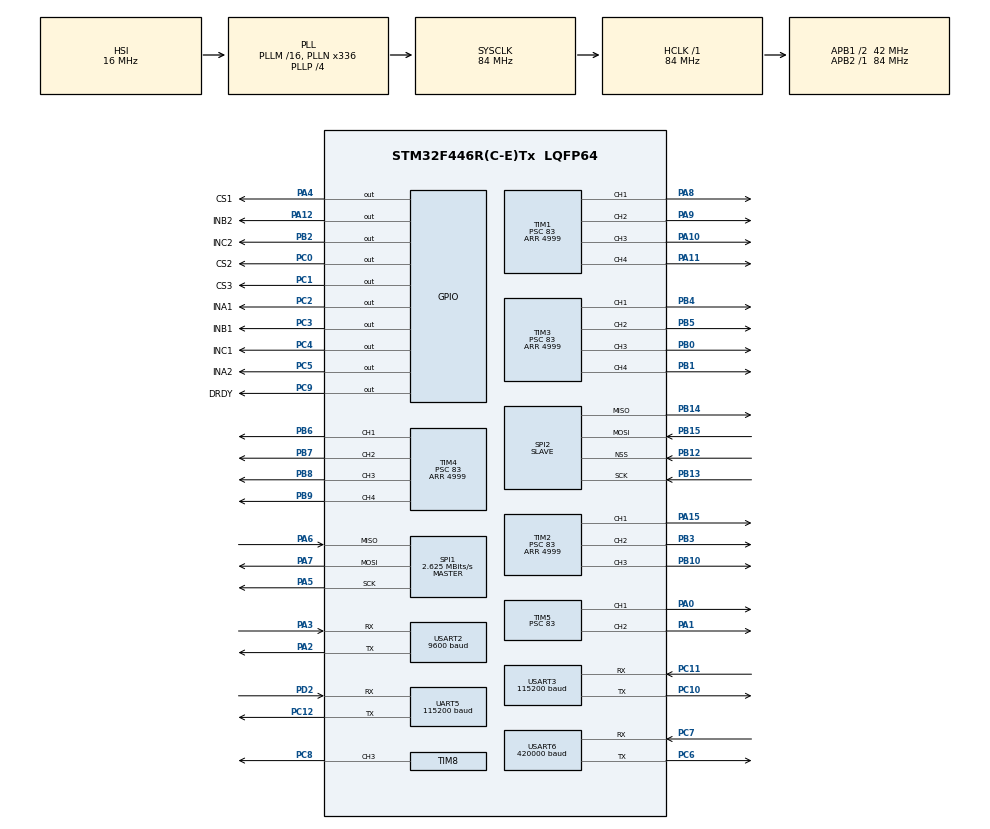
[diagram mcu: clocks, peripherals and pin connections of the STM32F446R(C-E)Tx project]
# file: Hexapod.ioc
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Dma.Request0=SPI2_RX
Dma.Request1=SPI2_TX
Dma.SPI2_RX.0.Direction=DMA_PERIPH_TO_MEMORY
Dma.SPI2_RX.0.FIFOMode=DMA_FIFOMODE_DISABLE
Dma.SPI2_RX.0.Instance=DMA1_Stream3
Dma.SPI2_RX.0.MemDataAlignment=DMA_MDATAALIGN_BYTE
Dma.SPI2_RX.0.MemInc=DMA_MINC_ENABLE
Dma.SPI2_RX.0.Mode=DMA_NORMAL
Dma.SPI2_RX.0.PeriphDataAlignment=DMA_PDATAALIGN_BYTE
Dma.SPI2_RX.0.PeriphInc=DMA_PINC_DISABLE
Dma.SPI2_RX.0.Priority=DMA_PRIORITY_HIGH
Dma.SPI2_TX.1.Direction=DMA_MEMORY_TO_PERIPH
Dma.SPI2_TX.1.FIFOMode=DMA_FIFOMODE_DISABLE
Dma.SPI2_TX.1.Instance=DMA1_Stream4
Dma.SPI2_TX.1.MemDataAlignment=DMA_MDATAALIGN_BYTE
Dma.SPI2_TX.1.MemInc=DMA_MINC_ENABLE
Dma.SPI2_TX.1.Mode=DMA_NORMAL
Dma.SPI2_TX.1.PeriphDataAlignment=DMA_PDATAALIGN_BYTE
Dma.SPI2_TX.1.PeriphInc=DMA_PINC_DISABLE
Dma.SPI2_TX.1.Priority=DMA_PRIORITY_HIGH
Mcu.Family=STM32F4
Mcu.Name=STM32F446R(C-E)Tx
Mcu.Package=LQFP64
NVIC.DMA1_Stream3_IRQn=true\:5\:0\:true\:false\:true\:false\:true\:true
NVIC.DMA1_Stream4_IRQn=true\:5\:0\:true\:false\:true\:false\:true\:true
NVIC.PriorityGroup=NVIC_PRIORITYGROUP_4
NVIC.SPI2_IRQn=true\:5\:0\:true\:false\:true\:true\:true\:true
NVIC.TIM6_DAC_IRQn=true\:0\:0\:false\:false\:true\:true\:true\:true
NVIC.UART5_IRQn=true\:4\:0\:true\:false\:true\:true\:true\:true
NVIC.USART2_IRQn=true\:3\:0\:true\:false\:true\:true\:true\:true
NVIC.USART3_IRQn=true\:2\:0\:true\:false\:true\:true\:true\:true
NVIC.USART6_IRQn=true\:1\:0\:true\:false\:true\:true\:true\:true
PA0-WKUP.Signal=S_TIM5_CH1
PA1.Signal=S_TIM5_CH2
PA10.Signal=S_TIM1_CH3
PA11.Signal=S_TIM1_CH4
PA12.GPIO_Label=INB2
PA12.Signal=GPIO_Output
PA13.GPIO_Label=TMS
PA13.Mode=Serial_Wire
PA13.Signal=SYS_JTMS-SWDIO
PA14.GPIO_Label=TCK
PA14.Mode=Serial_Wire
PA14.Signal=SYS_JTCK-SWCLK
PA15.Signal=S_TIM2_CH1_ETR
PA2.Mode=Asynchronous
PA2.Signal=USART2_TX
PA3.Mode=Asynchronous
PA3.Signal=USART2_RX
PA4.GPIO_Label=CS1
PA4.Signal=GPIO_Output
PA5.Mode=Full_Duplex_Master
PA5.Signal=SPI1_SCK
PA6.Mode=Full_Duplex_Master
PA6.Signal=SPI1_MISO
PA7.Mode=Full_Duplex_Master
PA7.Signal=SPI1_MOSI
PA8.Signal=S_TIM1_CH1
PA9.Signal=S_TIM1_CH2
PB0.Signal=S_TIM3_CH3
PB1.Signal=S_TIM3_CH4
PB10.Signal=S_TIM2_CH3
PB12.Mode=NSS_Signal_Hard_Input
PB12.Signal=SPI2_NSS
PB13.Mode=Full_Duplex_Slave
PB13.Signal=SPI2_SCK
PB14.Mode=Full_Duplex_Slave
PB14.Signal=SPI2_MISO
PB15.Mode=Full_Duplex_Slave
PB15.Signal=SPI2_MOSI
PB2.GPIO_Label=INC2
PB2.Signal=GPIO_Output
PB3.Signal=S_TIM2_CH2
PB4.Signal=S_TIM3_CH1
PB5.Signal=S_TIM3_CH2
PB6.Signal=S_TIM4_CH1
PB7.Signal=S_TIM4_CH2
PB8.Signal=S_TIM4_CH3
PB9.Signal=S_TIM4_CH4
PC0.GPIO_Label=CS2
PC0.Signal=GPIO_Output
PC1.GPIO_Label=CS3
PC1.Signal=GPIO_Output
PC10.Mode=Asynchronous
PC10.Signal=USART3_TX
PC11.Mode=Asynchronous
PC11.Signal=USART3_RX
PC12.Mode=Asynchronous
PC12.Signal=UART5_TX
PC2.GPIO_Label=INA1
PC2.Signal=GPIO_Output
PC3.GPIO_Label=INB1
PC3.Signal=GPIO_Output
PC4.GPIO_Label=INC1
PC4.Signal=GPIO_Output
PC5.GPIO_Label=INA2
PC5.Signal=GPIO_Output
PC6.Mode=Asynchronous
PC6.Signal=USART6_TX
PC7.Mode=Asynchronous
PC7.Signal=USART6_RX
PC8.Signal=S_TIM8_CH3
PC9.GPIO_Label=DRDY
PC9.Signal=GPIO_Output
PD2.Mode=Asynchronous
PD2.Signal=UART5_RX
ProjectManager.HeapSize=0x200
ProjectManager.StackSize=0x400
ProjectManager.TargetToolchain=STM32CubeIDE
RCC.48MHZClocksFreq_Value=84000000
RCC.AHBFreq_Value=84000000
RCC.APB1CLKDivider=RCC_HCLK_DIV2
RCC.APB1Freq_Value=42000000
RCC.APB1TimFreq_Value=84000000
RCC.APB2Freq_Value=84000000
RCC.APB2TimFreq_Value=84000000
RCC.CortexFreq_Value=84000000
RCC.FLatency-AdvancedSettings=FLASH_LATENCY_2
RCC.HCLKFreq_Value=84000000
RCC.HSE_VALUE=8000000
RCC.HSI_VALUE=16000000
RCC.PLLN=336
RCC.PLLP=RCC_PLLP_DIV4
RCC.SYSCLKFreq_VALUE=84000000
RCC.SYSCLKSource=RCC_SYSCLKSOURCE_PLLCLK
RCC.USBFreq_Value=168000000
RCC.VCOOutputFreq_Value=336000000
SH.S_TIM1_CH1.0=TIM1_CH1,PWM Generation1 CH1
SH.S_TIM1_CH2.0=TIM1_CH2,PWM Generation2 CH2
SH.S_TIM1_CH3.0=TIM1_CH3,PWM Generation3 CH3
SH.S_TIM1_CH4.0=TIM1_CH4,PWM Generation4 CH4
SH.S_TIM2_CH1_ETR.0=TIM2_CH1,PWM Generation1 CH1
SH.S_TIM2_CH2.0=TIM2_CH2,PWM Generation2 CH2
SH.S_TIM2_CH3.0=TIM2_CH3,PWM Generation3 CH3
SH.S_TIM3_CH1.0=TIM3_CH1,PWM Generation1 CH1
SH.S_TIM3_CH2.0=TIM3_CH2,PWM Generation2 CH2
SH.S_TIM3_CH3.0=TIM3_CH3,PWM Generation3 CH3
SH.S_TIM3_CH4.0=TIM3_CH4,PWM Generation4 CH4
SH.S_TIM4_CH1.0=TIM4_CH1,PWM Generation1 CH1
SH.S_TIM4_CH2.0=TIM4_CH2,PWM Generation2 CH2
SH.S_TIM4_CH3.0=TIM4_CH3,PWM Generation3 CH3
SH.S_TIM4_CH4.0=TIM4_CH4,PWM Generation4 CH4
SH.S_TIM5_CH1.0=TIM5_CH1,PWM Generation1 CH1
SH.S_TIM5_CH2.0=TIM5_CH2,PWM Generation2 CH2
SH.S_TIM8_CH3.0=TIM8_CH3,PWM Generation3 CH3
SPI1.BaudRatePrescaler=SPI_BAUDRATEPRESCALER_32
SPI1.CalculateBaudRate=2.625 MBits/s
SPI1.Direction=SPI_DIRECTION_2LINES
SPI1.Mode=SPI_MODE_MASTER
SPI1.VirtualType=VM_MASTER
SPI2.Direction=SPI_DIRECTION_2LINES
SPI2.Mode=SPI_MODE_SLAVE
SPI2.VirtualNSS=VM_NSSHARD
SPI2.VirtualType=VM_SLAVE
TIM1.AutoReloadPreload=TIM_AUTORELOAD_PRELOAD_ENABLE
TIM1.Channel-PWM\ Generation1\ CH1=TIM_CHANNEL_1
TIM1.Channel-PWM\ Generation2\ CH2=TIM_CHANNEL_2
TIM1.Channel-PWM\ Generation3\ CH3=TIM_CHANNEL_3
TIM1.Channel-PWM\ Generation4\ CH4=TIM_CHANNEL_4
TIM1.Period=4999
TIM1.Prescaler=83
TIM1.Pulse-PWM\ Generation1\ CH1=1500
TIM1.Pulse-PWM\ Generation2\ CH2=1500
TIM1.Pulse-PWM\ Generation3\ CH3=1500
TIM1.Pulse-PWM\ Generation4\ CH4=1500
TIM2.AutoReloadPreload=TIM_AUTORELOAD_PRELOAD_ENABLE
TIM2.Channel-PWM\ Generation1\ CH1=TIM_CHANNEL_1
TIM2.Channel-PWM\ Generation2\ CH2=TIM_CHANNEL_2
TIM2.Channel-PWM\ Generation3\ CH3=TIM_CHANNEL_3
TIM2.Period=4999
TIM2.Prescaler=83
TIM2.Pulse-PWM\ Generation1\ CH1=1500
TIM2.Pulse-PWM\ Generation2\ CH2=1500
TIM2.Pulse-PWM\ Generation3\ CH3=1500
TIM3.AutoReloadPreload=TIM_AUTORELOAD_PRELOAD_ENABLE
TIM3.Channel-PWM\ Generation1\ CH1=TIM_CHANNEL_1
TIM3.Channel-PWM\ Generation2\ CH2=TIM_CHANNEL_2
TIM3.Channel-PWM\ Generation3\ CH3=TIM_CHANNEL_3
TIM3.Channel-PWM\ Generation4\ CH4=TIM_CHANNEL_4
TIM3.Period=4999
TIM3.Prescaler=83
TIM3.Pulse-PWM\ Generation1\ CH1=1500
TIM3.Pulse-PWM\ Generation2\ CH2=1500
TIM3.Pulse-PWM\ Generation3\ CH3=1500
TIM3.Pulse-PWM\ Generation4\ CH4=1500
TIM4.AutoReloadPreload=TIM_AUTORELOAD_PRELOAD_ENABLE
TIM4.Channel-PWM\ Generation1\ CH1=TIM_CHANNEL_1
TIM4.Channel-PWM\ Generation2\ CH2=TIM_CHANNEL_2
TIM4.Channel-PWM\ Generation3\ CH3=TIM_CHANNEL_3
TIM4.Channel-PWM\ Generation4\ CH4=TIM_CHANNEL_4
TIM4.Period=4999
TIM4.Prescaler=83
TIM4.Pulse-PWM\ Generation1\ CH1=1500
TIM4.Pulse-PWM\ Generation2\ CH2=1500
TIM4.Pulse-PWM\ Generation3\ CH3=1500
TIM4.Pulse-PWM\ Generation4\ CH4=1500
TIM5.AutoReloadPreload=TIM_AUTORELOAD_PRELOAD_ENABLE
TIM5.Channel-PWM\ Generation1\ CH1=TIM_CHANNEL_1
TIM5.Channel-PWM\ Generation2\ CH2=TIM_CHANNEL_2
TIM5.Period=4999
TIM5.Prescaler=83
TIM5.Pulse-PWM\ Generation1\ CH1=1500
TIM5.Pulse-PWM\ Generation2\ CH2=1500
TIM6.AutoReloadPreload=TIM_AUTORELOAD_PRELOAD_ENABLE
TIM6.Period=999
TIM6.Prescaler=83
TIM8.AutoReloadPreload=TIM_AUTORELOAD_PRELOAD_ENABLE
TIM8.Channel-PWM\ Generation3\ CH3=TIM_CHANNEL_3
TIM8.Period=4999
TIM8.Prescaler=83
TIM8.Pulse-PWM\ Generation3\ CH3=1500
UART5.BaudRate=115200
UART5.VirtualMode=Asynchronous
USART2.BaudRate=9600
USART2.Mode=MODE_TX_RX
USART2.VirtualMode=VM_ASYNC
USART3.BaudRate=115200
USART3.VirtualMode=VM_ASYNC
USART6.BaudRate=420000
USART6.VirtualMode=VM_ASYNC
VP_TIM1_VS_ClockSourceINT.Mode=Internal
VP_TIM2_VS_ClockSourceINT.Mode=Internal
VP_TIM3_VS_ClockSourceINT.Mode=Internal
VP_TIM4_VS_ClockSourceINT.Mode=Internal
VP_TIM5_VS_ClockSourceINT.Mode=Internal
VP_TIM6_VS_ClockSourceINT.Mode=Enable_Timer
board=NUCLEO-F446RE

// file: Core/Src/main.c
/* USER CODE BEGIN Header */
/**
  ******************************************************************************
  * @file           : main.c
  * @brief          : Main program body
  ******************************************************************************
  * @attention
  *
  * Copyright (c) 2026 STMicroelectronics.
  * All rights reserved.
  *
  * This software is licensed under terms that can be found in the LICENSE file
  * in the root directory of this software component.
  * If no LICENSE file comes with this software, it is provided AS-IS.
  *
  ******************************************************************************
  */
/* USER CODE END Header */
#include "main.h"

/* USER CODE BEGIN Includes */
#include "app/hexapod_app.h"
#include "communication/jetson_spi.h"
#include "measurement/measurement_stage0.h"
#include "measurement/measurement_stage4.h"
#include "measurement/measurement_stage5.h"

/* USER CODE END Includes */

/* USER CODE BEGIN PD */
#define SENSOR_RAW_TEST_MODE         0U  // 세 보행 모드를 포함한 일반 제어 앱을 실행한다.
#define JOINT_ZERO_CALIBRATION_MODE  0U  // 관절 기구학 영점 정렬 모드를 선택한다.
#define JOINT_ADC_CALIBRATION_MODE   0U  // L6 J1 ADC 보정 모드를 선택한다.
#define JETSON_SPI_BRINGUP_TEST      0U  // Jetson SPI 단독 시험 모드를 선택한다.
/* USER CODE END PD */

SPI_HandleTypeDef hspi1;
SPI_HandleTypeDef hspi2;
DMA_HandleTypeDef hdma_spi2_rx;
DMA_HandleTypeDef hdma_spi2_tx;

TIM_HandleTypeDef htim1;
TIM_HandleTypeDef htim2;
TIM_HandleTypeDef htim3;
TIM_HandleTypeDef htim4;
TIM_HandleTypeDef htim5;
TIM_HandleTypeDef htim6;
TIM_HandleTypeDef htim8;

UART_HandleTypeDef huart5;
UART_HandleTypeDef huart2;
UART_HandleTypeDef huart3;
UART_HandleTypeDef huart6;

/* USER CODE BEGIN PV */
#if JETSON_SPI_BRINGUP_TEST
static JetsonSpi_Handle_t g_jetson_spi_test;
static RobotSensorSnapshot_t g_jetson_sensor_test;
#endif
/* USER CODE END PV */

void SystemClock_Config(void);
static void MX_GPIO_Init(void);
static void MX_DMA_Init(void);
static void MX_USART2_UART_Init(void);
static void MX_SPI1_Init(void);
static void MX_SPI2_Init(void);
static void MX_TIM1_Init(void);
static void MX_TIM2_Init(void);
static void MX_TIM3_Init(void);
static void MX_TIM4_Init(void);
static void MX_TIM5_Init(void);
static void MX_TIM6_Init(void);
static void MX_TIM8_Init(void);
static void MX_UART5_Init(void);
static void MX_USART3_UART_Init(void);
static void MX_USART6_UART_Init(void);

int main(void)
{

  /* MCU Configuration--------------------------------------------------------*/

  /* Reset of all peripherals, Initializes the Flash interface and the Systick. */
  HAL_Init();

  /* Configure the system clock */
  SystemClock_Config();

  /* Initialize all configured peripherals */
  MX_GPIO_Init();
  MX_DMA_Init();
  MX_USART2_UART_Init();
  MX_SPI1_Init();
  MX_SPI2_Init();
  MX_TIM1_Init();
  MX_TIM2_Init();
  MX_TIM3_Init();
  MX_TIM4_Init();
  MX_TIM5_Init();
  MX_TIM6_Init();
  MX_TIM8_Init();
  MX_UART5_Init();
  MX_USART3_UART_Init();
  MX_USART6_UART_Init();
  /* USER CODE BEGIN 2 */
#if SENSOR_RAW_TEST_MODE
  if (!MeasurementStage0_Init(&huart2, &huart3, &hspi1, &huart6))
  {
    Error_Handler();  // 전체 센서 모드 초기화 오류를 디버거에서 확인한다.
  }
#elif JOINT_ADC_CALIBRATION_MODE
  if (!MeasurementStage5_Init(&hspi1,
                              &htim1,
                              &htim2,
                              &htim3,
                              &htim4,
                              &htim5,
                              &htim8))
  {
    Error_Handler();  // ADC 보정 모드 초기화 오류를 디버거에서 확인한다.
  }
#elif JOINT_ZERO_CALIBRATION_MODE
  if (!MeasurementStage4_Init(&hspi1,
                              &htim1,
                              &htim2,
                              &htim3,
                              &htim4,
                              &htim5,
                              &htim8))
  {
    Error_Handler();  // 영점 모드 초기화 오류를 디버거에서 확인한다.
  }
#elif JETSON_SPI_BRINGUP_TEST
  JetsonSpi_Init(&g_jetson_spi_test, &hspi2);  // 모터 앱 없이 SPI2 통신만 준비한다.
#else
  if (HexapodApp_BoardInit() != HAL_OK)  // 실제 장치와 최종 제어 앱을 시작한다.
  {
    Error_Handler();                        // 초기화 실패 시 출력을 정지한다.
  }
#endif

  /* USER CODE END 2 */

  /* Infinite loop */
  while (1)
  {

    /* USER CODE BEGIN 3 */
#if SENSOR_RAW_TEST_MODE
    MeasurementStage0_Process();  // GPS·IMU·ADC·조종기 값을 계속 기록한다.
#elif JOINT_ADC_CALIBRATION_MODE
    MeasurementStage5_Process();  // L6 J1의 세 각도 ADC를 자동 측정한다.
#elif JOINT_ZERO_CALIBRATION_MODE
    MeasurementStage4_Process();  // 전체 관절을 보정표 기준 0도로 유지한다.
#elif JETSON_SPI_BRINGUP_TEST
    if (!g_jetson_spi_test.tx_frame_ready)
    {
      (void)JetsonSpi_PrepareSensorFrame(&g_jetson_spi_test,
                                         &g_jetson_sensor_test,
                                         true,
                                         HAL_GetTick());
    }
    (void)JetsonSpi_Process(&g_jetson_spi_test);
#else
    HexapodApp_BoardProcess();  // 통신과 5 ms 제어 요청을 계속 처리한다.
#endif
  }
  /* USER CODE END 3 */
}

void SystemClock_Config(void)
{
  RCC_OscInitTypeDef RCC_OscInitStruct = {0};
  RCC_ClkInitTypeDef RCC_ClkInitStruct = {0};

  /** Configure the main internal regulator output voltage
  */
  __HAL_RCC_PWR_CLK_ENABLE();
  __HAL_PWR_VOLTAGESCALING_CONFIG(PWR_REGULATOR_VOLTAGE_SCALE3);

  /** Initializes the RCC Oscillators according to the specified parameters
  * in the RCC_OscInitTypeDef structure.
  */
  RCC_OscInitStruct.OscillatorType = RCC_OSCILLATORTYPE_HSI;
  RCC_OscInitStruct.HSIState = RCC_HSI_ON;
  RCC_OscInitStruct.HSICalibrationValue = RCC_HSICALIBRATION_DEFAULT;
  RCC_OscInitStruct.PLL.PLLState = RCC_PLL_ON;
  RCC_OscInitStruct.PLL.PLLSource = RCC_PLLSOURCE_HSI;
  RCC_OscInitStruct.PLL.PLLM = 16;
  RCC_OscInitStruct.PLL.PLLN = 336;
  RCC_OscInitStruct.PLL.PLLP = RCC_PLLP_DIV4;
  RCC_OscInitStruct.PLL.PLLQ = 2;
  RCC_OscInitStruct.PLL.PLLR = 2;
  if (HAL_RCC_OscConfig(&RCC_OscInitStruct) != HAL_OK)
  {
    Error_Handler();
  }

  /** Initializes the CPU, AHB and APB buses clocks
  */
  RCC_ClkInitStruct.ClockType = RCC_CLOCKTYPE_HCLK|RCC_CLOCKTYPE_SYSCLK
                              |RCC_CLOCKTYPE_PCLK1|RCC_CLOCKTYPE_PCLK2;
  RCC_ClkInitStruct.SYSCLKSource = RCC_SYSCLKSOURCE_PLLCLK;
  RCC_ClkInitStruct.AHBCLKDivider = RCC_SYSCLK_DIV1;
  RCC_ClkInitStruct.APB1CLKDivider = RCC_HCLK_DIV2;
  RCC_ClkInitStruct.APB2CLKDivider = RCC_HCLK_DIV1;

  if (HAL_RCC_ClockConfig(&RCC_ClkInitStruct, FLASH_LATENCY_2) != HAL_OK)
  {
    Error_Handler();
  }
}

static void MX_SPI1_Init(void)
{

  /* SPI1 parameter configuration*/
  hspi1.Instance = SPI1;
  hspi1.Init.Mode = SPI_MODE_MASTER;
  hspi1.Init.Direction = SPI_DIRECTION_2LINES;
  hspi1.Init.DataSize = SPI_DATASIZE_8BIT;
  hspi1.Init.CLKPolarity = SPI_POLARITY_LOW;
  hspi1.Init.CLKPhase = SPI_PHASE_1EDGE;
  hspi1.Init.NSS = SPI_NSS_SOFT;
  hspi1.Init.BaudRatePrescaler = SPI_BAUDRATEPRESCALER_32;
  hspi1.Init.FirstBit = SPI_FIRSTBIT_MSB;
  hspi1.Init.TIMode = SPI_TIMODE_DISABLE;
  hspi1.Init.CRCCalculation = SPI_CRCCALCULATION_DISABLE;
  hspi1.Init.CRCPolynomial = 10;
  if (HAL_SPI_Init(&hspi1) != HAL_OK)
  {
    Error_Handler();
  }

}

static void MX_SPI2_Init(void)
{

  /* SPI2 parameter configuration*/
  hspi2.Instance = SPI2;
  hspi2.Init.Mode = SPI_MODE_SLAVE;
  hspi2.Init.Direction = SPI_DIRECTION_2LINES;
  hspi2.Init.DataSize = SPI_DATASIZE_8BIT;
  hspi2.Init.CLKPolarity = SPI_POLARITY_LOW;
  hspi2.Init.CLKPhase = SPI_PHASE_1EDGE;
  hspi2.Init.NSS = SPI_NSS_HARD_INPUT;
  hspi2.Init.FirstBit = SPI_FIRSTBIT_MSB;
  hspi2.Init.TIMode = SPI_TIMODE_DISABLE;
  hspi2.Init.CRCCalculation = SPI_CRCCALCULATION_DISABLE;
  hspi2.Init.CRCPolynomial = 10;
  if (HAL_SPI_Init(&hspi2) != HAL_OK)
  {
    Error_Handler();
  }

}

static void MX_TIM1_Init(void)
{

  TIM_ClockConfigTypeDef sClockSourceConfig = {0};
  TIM_MasterConfigTypeDef sMasterConfig = {0};
  TIM_OC_InitTypeDef sConfigOC = {0};
  TIM_BreakDeadTimeConfigTypeDef sBreakDeadTimeConfig = {0};

  htim1.Instance = TIM1;
  htim1.Init.Prescaler = 83;
  htim1.Init.CounterMode = TIM_COUNTERMODE_UP;
  htim1.Init.Period = 4999;
  htim1.Init.ClockDivision = TIM_CLOCKDIVISION_DIV1;
  htim1.Init.RepetitionCounter = 0;
  htim1.Init.AutoReloadPreload = TIM_AUTORELOAD_PRELOAD_ENABLE;
  if (HAL_TIM_Base_Init(&htim1) != HAL_OK)
  {
    Error_Handler();
  }
  sClockSourceConfig.ClockSource = TIM_CLOCKSOURCE_INTERNAL;
  if (HAL_TIM_ConfigClockSource(&htim1, &sClockSourceConfig) != HAL_OK)
  {
    Error_Handler();
  }
  if (HAL_TIM_PWM_Init(&htim1) != HAL_OK)
  {
    Error_Handler();
  }
  sMasterConfig.MasterOutputTrigger = TIM_TRGO_RESET;
  sMasterConfig.MasterSlaveMode = TIM_MASTERSLAVEMODE_DISABLE;
  if (HAL_TIMEx_MasterConfigSynchronization(&htim1, &sMasterConfig) != HAL_OK)
  {
    Error_Handler();
  }
  sConfigOC.OCMode = TIM_OCMODE_PWM1;
  sConfigOC.Pulse = 1500;
  sConfigOC.OCPolarity = TIM_OCPOLARITY_HIGH;
  sConfigOC.OCNPolarity = TIM_OCNPOLARITY_HIGH;
  sConfigOC.OCFastMode = TIM_OCFAST_DISABLE;
  sConfigOC.OCIdleState = TIM_OCIDLESTATE_RESET;
  sConfigOC.OCNIdleState = TIM_OCNIDLESTATE_RESET;
  if (HAL_TIM_PWM_ConfigChannel(&htim1, &sConfigOC, TIM_CHANNEL_1) != HAL_OK)
  {
    Error_Handler();
  }
  if (HAL_TIM_PWM_ConfigChannel(&htim1, &sConfigOC, TIM_CHANNEL_2) != HAL_OK)
  {
    Error_Handler();
  }
  if (HAL_TIM_PWM_ConfigChannel(&htim1, &sConfigOC, TIM_CHANNEL_3) != HAL_OK)
  {
    Error_Handler();
  }
  if (HAL_TIM_PWM_ConfigChannel(&htim1, &sConfigOC, TIM_CHANNEL_4) != HAL_OK)
  {
    Error_Handler();
  }
  sBreakDeadTimeConfig.OffStateRunMode = TIM_OSSR_DISABLE;
  sBreakDeadTimeConfig.OffStateIDLEMode = TIM_OSSI_DISABLE;
  sBreakDeadTimeConfig.LockLevel = TIM_LOCKLEVEL_OFF;
  sBreakDeadTimeConfig.DeadTime = 0;
  sBreakDeadTimeConfig.BreakState = TIM_BREAK_DISABLE;
  sBreakDeadTimeConfig.BreakPolarity = TIM_BREAKPOLARITY_HIGH;
  sBreakDeadTimeConfig.AutomaticOutput = TIM_AUTOMATICOUTPUT_DISABLE;
  if (HAL_TIMEx_ConfigBreakDeadTime(&htim1, &sBreakDeadTimeConfig) != HAL_OK)
  {
    Error_Handler();
  }
  HAL_TIM_MspPostInit(&htim1);

}

static void MX_TIM2_Init(void)
{

  TIM_ClockConfigTypeDef sClockSourceConfig = {0};
  TIM_MasterConfigTypeDef sMasterConfig = {0};
  TIM_OC_InitTypeDef sConfigOC = {0};

  htim2.Instance = TIM2;
  htim2.Init.Prescaler = 83;
  htim2.Init.CounterMode = TIM_COUNTERMODE_UP;
  htim2.Init.Period = 4999;
  htim2.Init.ClockDivision = TIM_CLOCKDIVISION_DIV1;
  htim2.Init.AutoReloadPreload = TIM_AUTORELOAD_PRELOAD_ENABLE;
  if (HAL_TIM_Base_Init(&htim2) != HAL_OK)
  {
    Error_Handler();
  }
  sClockSourceConfig.ClockSource = TIM_CLOCKSOURCE_INTERNAL;
  if (HAL_TIM_ConfigClockSource(&htim2, &sClockSourceConfig) != HAL_OK)
  {
    Error_Handler();
  }
  if (HAL_TIM_PWM_Init(&htim2) != HAL_OK)
  {
    Error_Handler();
  }
  sMasterConfig.MasterOutputTrigger = TIM_TRGO_RESET;
  sMasterConfig.MasterSlaveMode = TIM_MASTERSLAVEMODE_DISABLE;
  if (HAL_TIMEx_MasterConfigSynchronization(&htim2, &sMasterConfig) != HAL_OK)
  {
    Error_Handler();
  }
  sConfigOC.OCMode = TIM_OCMODE_PWM1;
  sConfigOC.Pulse = 1500;
  sConfigOC.OCPolarity = TIM_OCPOLARITY_HIGH;
  sConfigOC.OCFastMode = TIM_OCFAST_DISABLE;
  if (HAL_TIM_PWM_ConfigChannel(&htim2, &sConfigOC, TIM_CHANNEL_1) != HAL_OK)
  {
    Error_Handler();
  }
  if (HAL_TIM_PWM_ConfigChannel(&htim2, &sConfigOC, TIM_CHANNEL_2) != HAL_OK)
  {
    Error_Handler();
  }
  if (HAL_TIM_PWM_ConfigChannel(&htim2, &sConfigOC, TIM_CHANNEL_3) != HAL_OK)
  {
    Error_Handler();
  }
  HAL_TIM_MspPostInit(&htim2);

}

static void MX_TIM3_Init(void)
{

  TIM_ClockConfigTypeDef sClockSourceConfig = {0};
  TIM_MasterConfigTypeDef sMasterConfig = {0};
  TIM_OC_InitTypeDef sConfigOC = {0};

  htim3.Instance = TIM3;
  htim3.Init.Prescaler = 83;
  htim3.Init.CounterMode = TIM_COUNTERMODE_UP;
  htim3.Init.Period = 4999;
  htim3.Init.ClockDivision = TIM_CLOCKDIVISION_DIV1;
  htim3.Init.AutoReloadPreload = TIM_AUTORELOAD_PRELOAD_ENABLE;
  if (HAL_TIM_Base_Init(&htim3) != HAL_OK)
  {
    Error_Handler();
  }
  sClockSourceConfig.ClockSource = TIM_CLOCKSOURCE_INTERNAL;
  if (HAL_TIM_ConfigClockSource(&htim3, &sClockSourceConfig) != HAL_OK)
  {
    Error_Handler();
  }
  if (HAL_TIM_PWM_Init(&htim3) != HAL_OK)
  {
    Error_Handler();
  }
  sMasterConfig.MasterOutputTrigger = TIM_TRGO_RESET;
  sMasterConfig.MasterSlaveMode = TIM_MASTERSLAVEMODE_DISABLE;
  if (HAL_TIMEx_MasterConfigSynchronization(&htim3, &sMasterConfig) != HAL_OK)
  {
    Error_Handler();
  }
  sConfigOC.OCMode = TIM_OCMODE_PWM1;
  sConfigOC.Pulse = 1500;
  sConfigOC.OCPolarity = TIM_OCPOLARITY_HIGH;
  sConfigOC.OCFastMode = TIM_OCFAST_DISABLE;
  if (HAL_TIM_PWM_ConfigChannel(&htim3, &sConfigOC, TIM_CHANNEL_1) != HAL_OK)
  {
    Error_Handler();
  }
  if (HAL_TIM_PWM_ConfigChannel(&htim3, &sConfigOC, TIM_CHANNEL_2) != HAL_OK)
  {
    Error_Handler();
  }
  if (HAL_TIM_PWM_ConfigChannel(&htim3, &sConfigOC, TIM_CHANNEL_3) != HAL_OK)
  {
    Error_Handler();
  }
  if (HAL_TIM_PWM_ConfigChannel(&htim3, &sConfigOC, TIM_CHANNEL_4) != HAL_OK)
  {
    Error_Handler();
  }
  HAL_TIM_MspPostInit(&htim3);

}

static void MX_TIM4_Init(void)
{

  TIM_ClockConfigTypeDef sClockSourceConfig = {0};
  TIM_MasterConfigTypeDef sMasterConfig = {0};
  TIM_OC_InitTypeDef sConfigOC = {0};

  htim4.Instance = TIM4;
  htim4.Init.Prescaler = 83;
  htim4.Init.CounterMode = TIM_COUNTERMODE_UP;
  htim4.Init.Period = 4999;
  htim4.Init.ClockDivision = TIM_CLOCKDIVISION_DIV1;
  htim4.Init.AutoReloadPreload = TIM_AUTORELOAD_PRELOAD_ENABLE;
  if (HAL_TIM_Base_Init(&htim4) != HAL_OK)
  {
    Error_Handler();
  }
  sClockSourceConfig.ClockSource = TIM_CLOCKSOURCE_INTERNAL;
  if (HAL_TIM_ConfigClockSource(&htim4, &sClockSourceConfig) != HAL_OK)
  {
    Error_Handler();
  }
  if (HAL_TIM_PWM_Init(&htim4) != HAL_OK)
  {
    Error_Handler();
  }
  sMasterConfig.MasterOutputTrigger = TIM_TRGO_RESET;
  sMasterConfig.MasterSlaveMode = TIM_MASTERSLAVEMODE_DISABLE;
  if (HAL_TIMEx_MasterConfigSynchronization(&htim4, &sMasterConfig) != HAL_OK)
  {
    Error_Handler();
  }
  sConfigOC.OCMode = TIM_OCMODE_PWM1;
  sConfigOC.Pulse = 1500;
  sConfigOC.OCPolarity = TIM_OCPOLARITY_HIGH;
  sConfigOC.OCFastMode = TIM_OCFAST_DISABLE;
  if (HAL_TIM_PWM_ConfigChannel(&htim4, &sConfigOC, TIM_CHANNEL_1) != HAL_OK)
  {
    Error_Handler();
  }
  if (HAL_TIM_PWM_ConfigChannel(&htim4, &sConfigOC, TIM_CHANNEL_2) != HAL_OK)
  {
    Error_Handler();
  }
  if (HAL_TIM_PWM_ConfigChannel(&htim4, &sConfigOC, TIM_CHANNEL_3) != HAL_OK)
  {
    Error_Handler();
  }
  if (HAL_TIM_PWM_ConfigChannel(&htim4, &sConfigOC, TIM_CHANNEL_4) != HAL_OK)
  {
    Error_Handler();
  }
  HAL_TIM_MspPostInit(&htim4);

}

static void MX_TIM5_Init(void)
{

  TIM_ClockConfigTypeDef sClockSourceConfig = {0};
  TIM_MasterConfigTypeDef sMasterConfig = {0};
  TIM_OC_InitTypeDef sConfigOC = {0};

  htim5.Instance = TIM5;
  htim5.Init.Prescaler = 83;
  htim5.Init.CounterMode = TIM_COUNTERMODE_UP;
  htim5.Init.Period = 4999;
  htim5.Init.ClockDivision = TIM_CLOCKDIVISION_DIV1;
  htim5.Init.AutoReloadPreload = TIM_AUTORELOAD_PRELOAD_ENABLE;
  if (HAL_TIM_Base_Init(&htim5) != HAL_OK)
  {
    Error_Handler();
  }
  sClockSourceConfig.ClockSource = TIM_CLOCKSOURCE_INTERNAL;
  if (HAL_TIM_ConfigClockSource(&htim5, &sClockSourceConfig) != HAL_OK)
  {
    Error_Handler();
  }
  if (HAL_TIM_PWM_Init(&htim5) != HAL_OK)
  {
    Error_Handler();
  }
  sMasterConfig.MasterOutputTrigger = TIM_TRGO_RESET;
  sMasterConfig.MasterSlaveMode = TIM_MASTERSLAVEMODE_DISABLE;
  if (HAL_TIMEx_MasterConfigSynchronization(&htim5, &sMasterConfig) != HAL_OK)
  {
    Error_Handler();
  }
  sConfigOC.OCMode = TIM_OCMODE_PWM1;
  sConfigOC.Pulse = 1500;
  sConfigOC.OCPolarity = TIM_OCPOLARITY_HIGH;
  sConfigOC.OCFastMode = TIM_OCFAST_DISABLE;
  if (HAL_TIM_PWM_ConfigChannel(&htim5, &sConfigOC, TIM_CHANNEL_1) != HAL_OK)
  {
    Error_Handler();
  }
  if (HAL_TIM_PWM_ConfigChannel(&htim5, &sConfigOC, TIM_CHANNEL_2) != HAL_OK)
  {
    Error_Handler();
  }
  HAL_TIM_MspPostInit(&htim5);

}

static void MX_TIM6_Init(void)
{

  TIM_MasterConfigTypeDef sMasterConfig = {0};

  htim6.Instance = TIM6;
  htim6.Init.Prescaler = 83;
  htim6.Init.CounterMode = TIM_COUNTERMODE_UP;
  htim6.Init.Period = 999;
  htim6.Init.AutoReloadPreload = TIM_AUTORELOAD_PRELOAD_ENABLE;
  if (HAL_TIM_Base_Init(&htim6) != HAL_OK)
  {
    Error_Handler();
  }
  sMasterConfig.MasterOutputTrigger = TIM_TRGO_RESET;
  sMasterConfig.MasterSlaveMode = TIM_MASTERSLAVEMODE_DISABLE;
  if (HAL_TIMEx_MasterConfigSynchronization(&htim6, &sMasterConfig) != HAL_OK)
  {
    Error_Handler();
  }

}

static void MX_TIM8_Init(void)
{

  TIM_MasterConfigTypeDef sMasterConfig = {0};
  TIM_OC_InitTypeDef sConfigOC = {0};
  TIM_BreakDeadTimeConfigTypeDef sBreakDeadTimeConfig = {0};

  htim8.Instance = TIM8;
  htim8.Init.Prescaler = 83;
  htim8.Init.CounterMode = TIM_COUNTERMODE_UP;
  htim8.Init.Period = 4999;
  htim8.Init.ClockDivision = TIM_CLOCKDIVISION_DIV1;
  htim8.Init.RepetitionCounter = 0;
  htim8.Init.AutoReloadPreload = TIM_AUTORELOAD_PRELOAD_ENABLE;
  if (HAL_TIM_PWM_Init(&htim8) != HAL_OK)
  {
    Error_Handler();
  }
  sMasterConfig.MasterOutputTrigger = TIM_TRGO_RESET;
  sMasterConfig.MasterSlaveMode = TIM_MASTERSLAVEMODE_DISABLE;
  if (HAL_TIMEx_MasterConfigSynchronization(&htim8, &sMasterConfig) != HAL_OK)
  {
    Error_Handler();
  }
  sConfigOC.OCMode = TIM_OCMODE_PWM1;
  sConfigOC.Pulse = 1500;
  sConfigOC.OCPolarity = TIM_OCPOLARITY_HIGH;
  sConfigOC.OCNPolarity = TIM_OCNPOLARITY_HIGH;
  sConfigOC.OCFastMode = TIM_OCFAST_DISABLE;
  sConfigOC.OCIdleState = TIM_OCIDLESTATE_RESET;
  sConfigOC.OCNIdleState = TIM_OCNIDLESTATE_RESET;
  if (HAL_TIM_PWM_ConfigChannel(&htim8, &sConfigOC, TIM_CHANNEL_3) != HAL_OK)
  {
    Error_Handler();
  }
  sBreakDeadTimeConfig.OffStateRunMode = TIM_OSSR_DISABLE;
  sBreakDeadTimeConfig.OffStateIDLEMode = TIM_OSSI_DISABLE;
  sBreakDeadTimeConfig.LockLevel = TIM_LOCKLEVEL_OFF;
  sBreakDeadTimeConfig.DeadTime = 0;
  sBreakDeadTimeConfig.BreakState = TIM_BREAK_DISABLE;
  sBreakDeadTimeConfig.BreakPolarity = TIM_BREAKPOLARITY_HIGH;
  sBreakDeadTimeConfig.AutomaticOutput = TIM_AUTOMATICOUTPUT_DISABLE;
  if (HAL_TIMEx_ConfigBreakDeadTime(&htim8, &sBreakDeadTimeConfig) != HAL_OK)
  {
    Error_Handler();
  }
  HAL_TIM_MspPostInit(&htim8);

}

static void MX_UART5_Init(void)
{

  huart5.Instance = UART5;
  huart5.Init.BaudRate = 115200;
  huart5.Init.WordLength = UART_WORDLENGTH_8B;
  huart5.Init.StopBits = UART_STOPBITS_1;
  huart5.Init.Parity = UART_PARITY_NONE;
  huart5.Init.Mode = UART_MODE_TX_RX;
  huart5.Init.HwFlowCtl = UART_HWCONTROL_NONE;
  huart5.Init.OverSampling = UART_OVERSAMPLING_16;
  if (HAL_UART_Init(&huart5) != HAL_OK)
  {
    Error_Handler();
  }

}

static void MX_USART2_UART_Init(void)
{

  huart2.Instance = USART2;
  huart2.Init.BaudRate = 9600;
  huart2.Init.WordLength = UART_WORDLENGTH_8B;
  huart2.Init.StopBits = UART_STOPBITS_1;
  huart2.Init.Parity = UART_PARITY_NONE;
  huart2.Init.Mode = UART_MODE_TX_RX;
  huart2.Init.HwFlowCtl = UART_HWCONTROL_NONE;
  huart2.Init.OverSampling = UART_OVERSAMPLING_16;
  if (HAL_UART_Init(&huart2) != HAL_OK)
  {
    Error_Handler();
  }

}

static void MX_USART3_UART_Init(void)
{

  huart3.Instance = USART3;
  huart3.Init.BaudRate = 115200;
  huart3.Init.WordLength = UART_WORDLENGTH_8B;
  huart3.Init.StopBits = UART_STOPBITS_1;
  huart3.Init.Parity = UART_PARITY_NONE;
  huart3.Init.Mode = UART_MODE_TX_RX;
  huart3.Init.HwFlowCtl = UART_HWCONTROL_NONE;
  huart3.Init.OverSampling = UART_OVERSAMPLING_16;
  if (HAL_UART_Init(&huart3) != HAL_OK)
  {
    Error_Handler();
  }

}

static void MX_USART6_UART_Init(void)
{

  huart6.Instance = USART6;
  huart6.Init.BaudRate = 420000;
  huart6.Init.WordLength = UART_WORDLENGTH_8B;
  huart6.Init.StopBits = UART_STOPBITS_1;
  huart6.Init.Parity = UART_PARITY_NONE;
  huart6.Init.Mode = UART_MODE_TX_RX;
  huart6.Init.HwFlowCtl = UART_HWCONTROL_NONE;
  huart6.Init.OverSampling = UART_OVERSAMPLING_16;
  if (HAL_UART_Init(&huart6) != HAL_OK)
  {
    Error_Handler();
  }

}

static void MX_DMA_Init(void)
{

  /* DMA controller clock enable */
  __HAL_RCC_DMA1_CLK_ENABLE();

  /* DMA interrupt init */
  /* DMA1_Stream3_IRQn interrupt configuration */
  HAL_NVIC_SetPriority(DMA1_Stream3_IRQn, 5, 0);
  HAL_NVIC_EnableIRQ(DMA1_Stream3_IRQn);
  /* DMA1_Stream4_IRQn interrupt configuration */
  HAL_NVIC_SetPriority(DMA1_Stream4_IRQn, 5, 0);
  HAL_NVIC_EnableIRQ(DMA1_Stream4_IRQn);

}

static void MX_GPIO_Init(void)
{
  GPIO_InitTypeDef GPIO_InitStruct = {0};

  /* GPIO Ports Clock Enable */
  __HAL_RCC_GPIOC_CLK_ENABLE();
  __HAL_RCC_GPIOA_CLK_ENABLE();
  __HAL_RCC_GPIOB_CLK_ENABLE();
  __HAL_RCC_GPIOD_CLK_ENABLE();

  /*Configure GPIO pin Output Level */
  HAL_GPIO_WritePin(GPIOC, CS2_Pin|CS3_Pin|INA1_Pin|INB1_Pin
                          |INC1_Pin|INA2_Pin|DRDY_Pin, GPIO_PIN_RESET);

  /*Configure GPIO pin Output Level */
  HAL_GPIO_WritePin(GPIOA, CS1_Pin|INB2_Pin, GPIO_PIN_RESET);

  /*Configure GPIO pin Output Level */
  HAL_GPIO_WritePin(INC2_GPIO_Port, INC2_Pin, GPIO_PIN_RESET);

  /*Configure GPIO pins : CS2_Pin CS3_Pin INA1_Pin INB1_Pin
                           INC1_Pin INA2_Pin DRDY_Pin */
  GPIO_InitStruct.Pin = CS2_Pin|CS3_Pin|INA1_Pin|INB1_Pin
                          |INC1_Pin|INA2_Pin|DRDY_Pin;
  GPIO_InitStruct.Mode = GPIO_MODE_OUTPUT_PP;
  GPIO_InitStruct.Pull = GPIO_NOPULL;
  GPIO_InitStruct.Speed = GPIO_SPEED_FREQ_LOW;
  HAL_GPIO_Init(GPIOC, &GPIO_InitStruct);

  /*Configure GPIO pins : CS1_Pin INB2_Pin */
  GPIO_InitStruct.Pin = CS1_Pin|INB2_Pin;
  GPIO_InitStruct.Mode = GPIO_MODE_OUTPUT_PP;
  GPIO_InitStruct.Pull = GPIO_NOPULL;
  GPIO_InitStruct.Speed = GPIO_SPEED_FREQ_LOW;
  HAL_GPIO_Init(GPIOA, &GPIO_InitStruct);

  /*Configure GPIO pin : INC2_Pin */
  GPIO_InitStruct.Pin = INC2_Pin;
  GPIO_InitStruct.Mode = GPIO_MODE_OUTPUT_PP;
  GPIO_InitStruct.Pull = GPIO_NOPULL;
  GPIO_InitStruct.Speed = GPIO_SPEED_FREQ_LOW;
  HAL_GPIO_Init(INC2_GPIO_Port, &GPIO_InitStruct);

}

/* USER CODE BEGIN 4 */

/* UART 수신 완료를 현재 실행 모드에 전달한다. */
void HAL_UART_RxCpltCallback(UART_HandleTypeDef *huart)
{
#if SENSOR_RAW_TEST_MODE
  MeasurementStage0_UartRxCallback(huart);  // GPS·WT931·CRSF의 다음 수신을 준비한다.
#elif !JOINT_ZERO_CALIBRATION_MODE && !JOINT_ADC_CALIBRATION_MODE && !JETSON_SPI_BRINGUP_TEST
  HexapodApp_BoardUartRxCallback(huart);  // 해당 UART의 다음 수신을 준비한다.
#else
  (void)huart;  // UART를 사용하지 않는 시험 모드에서는 처리하지 않는다.
#endif
}

/* UART 송수신 오류를 현재 실행 모드에 전달한다. */
void HAL_UART_ErrorCallback(UART_HandleTypeDef *huart)
{
#if SENSOR_RAW_TEST_MODE
  MeasurementStage0_UartErrorCallback(huart);  // GPS·WT931·CRSF 수신을 복구한다.
#elif !JOINT_ZERO_CALIBRATION_MODE && !JOINT_ADC_CALIBRATION_MODE && !JETSON_SPI_BRINGUP_TEST
  HexapodApp_BoardUartErrorCallback(huart);  // 해당 UART 송수신을 복구한다.
#else
  (void)huart;  // UART를 사용하지 않는 시험 모드에서는 처리하지 않는다.
#endif
}

/* UART 송신 완료를 최종 앱으로 전달한다. */
void HAL_UART_TxCpltCallback(UART_HandleTypeDef *huart)
{
#if !SENSOR_RAW_TEST_MODE && !JOINT_ZERO_CALIBRATION_MODE && \
    !JOINT_ADC_CALIBRATION_MODE && !JETSON_SPI_BRINGUP_TEST
  HexapodApp_BoardUartTxCpltCallback(huart);  // 해당 UART의 다음 송신을 허가한다.
#else
  (void)huart;  // 센서·보정 시험 모드에서 UART 송신 콜백을 사용하지 않는다.
#endif
}

/* 압력·제어 Timer 완료를 최종 앱으로 전달한다. */
void HAL_TIM_PeriodElapsedCallback(TIM_HandleTypeDef *htim)
{
#if !SENSOR_RAW_TEST_MODE && !JOINT_ZERO_CALIBRATION_MODE && \
    !JOINT_ADC_CALIBRATION_MODE && !JETSON_SPI_BRINGUP_TEST
  HexapodApp_BoardTimerCallback(htim);  // TIM6 압력·제어 실행을 요청한다.
#else
  (void)htim;  // 센서·보정 시험 모드에서 제어 타이머 콜백을 사용하지 않는다.
#endif
}

/* USER CODE END 4 */

void Error_Handler(void)
{
  __disable_irq();
  while (1)
  {
  }
}
